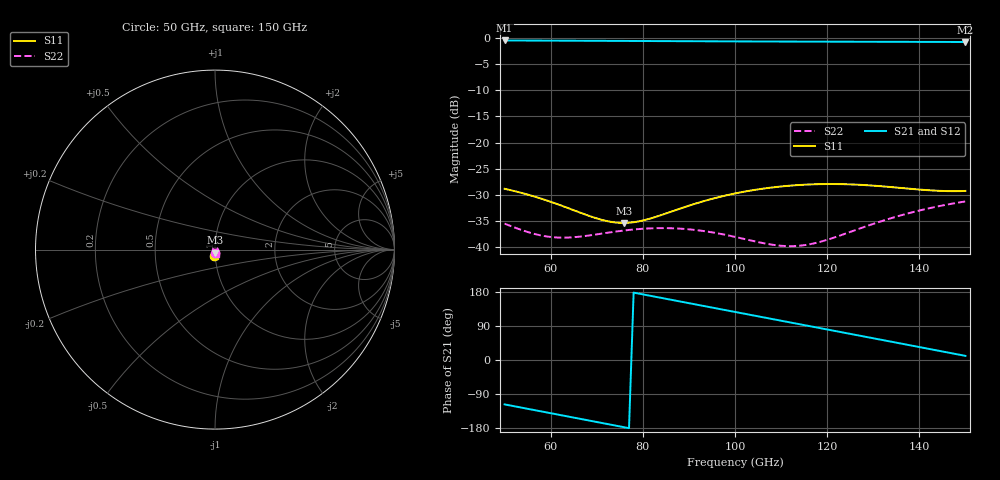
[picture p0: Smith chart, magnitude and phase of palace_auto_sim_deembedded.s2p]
! Created with skrf 1.11.0 (http://scikit-rf.org).
# GHz S DB R 50.0
!freq dBS11 angS11 dBS21 angS21 dBS12 angS12 dBS22 angS22
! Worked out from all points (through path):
!   101 points, 50 GHz to 150 GHz, reference 50 ohm
!   highest |S21| = -0.54 dB at 50 GHz (marker M1); lowest = -0.8 dB at 150 GHz (marker M2)
!   group delay of S21, straight-line fit = 6.44 ps
!   lowest |S11| = -35.3 dB at 76 GHz (marker M3), VSWR 1.03, Z = 49.8 - j1.7 ohm
!   |S11| at or under -10 dB: start of sweep to end of sweep
!   |S22| runs from -39.8 to -31.2 dB; largest |S21 - S12| = 1.6e-13
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50  -28.82 -103.2  -0.54 -117.2  -0.54 -117.2  -35.46 -90.8
55  -29.92 -109.9  -0.56 -128.8  -0.56 -128.8  -37.05 -90.3
59  -31.00 -113.6  -0.57 -138.1  -0.57 -138.1  -37.89 -87.2
63  -32.24 -114.9  -0.59 -147.4  -0.59 -147.4  -38.13 -83.9
67  -33.56 -112.9  -0.60 -156.7  -0.60 -156.7  -37.87 -82.6
72  -34.94 -104.6  -0.62 -168.3  -0.62 -168.3  -37.24 -85.4
76  -35.33 -94.3  -0.63 -177.5  -0.63 -177.5  -36.76 -91.2
80  -34.86 -84.1  -0.65 173.2  -0.65 173.2  -36.44 -99.4
84  -33.83 -77.1  -0.66 163.9  -0.66 163.9  -36.31 -109.6
92  -31.49 -73.0  -0.69 145.4  -0.69 145.4  -36.73 -135.5
100  -29.71 -76.3  -0.72 126.8  -0.72 126.8  -37.99 -169.5
105  -28.93 -79.9  -0.73 115.3  -0.73 115.3  -38.97 163.7
109  -28.47 -83.1  -0.75 106.0  -0.75 106.0  -39.59 138.5
113  -28.15 -86.4  -0.76 96.8  -0.76 96.8  -39.74 110.8
117  -27.97 -89.7  -0.76 87.5  -0.76 87.5  -39.25 82.8
121  -27.91 -92.7  -0.77 78.2  -0.77 78.2  -38.26 56.9
125  -27.98 -95.4  -0.78 69.0  -0.78 69.0  -37.04 33.7
129  -28.16 -97.5  -0.79 59.7  -0.79 59.7  -35.81 13.1
134  -28.50 -98.8  -0.80 48.1  -0.80 48.1  -34.39 -10.1
142  -29.09 -97.1  -0.81 29.5  -0.81 29.5  -32.56 -44.1
146  -29.25 -94.6  -0.82 20.2  -0.82 20.2  -31.83 -60.3
150  -29.23 -91.3  -0.83 10.9  -0.83 10.9  -31.23 -76.2
